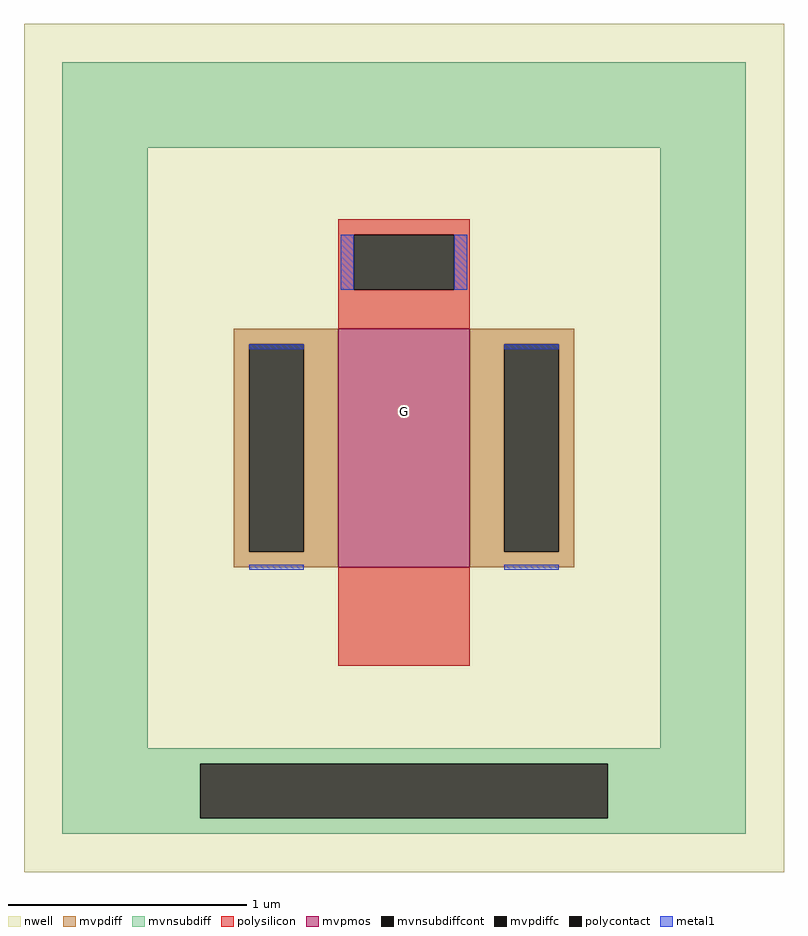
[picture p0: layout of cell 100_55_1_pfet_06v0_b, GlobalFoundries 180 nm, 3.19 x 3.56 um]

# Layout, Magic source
magic
tech gf180mcuD
magscale 1 10
<< nwell >>
rect -319 -356 319 356
<< mvpmos >>
rect -55 -100 55 100
<< mvpdiff >>
rect -143 87 -55 100
rect -143 -87 -130 87
rect -84 -87 -55 87
rect -143 -100 -55 -87
rect 55 87 143 100
rect 55 -87 84 87
rect 130 -87 143 87
rect 55 -100 143 -87
<< mvpdiffc >>
rect -130 -87 -84 87
rect 84 -87 130 87
<< mvnsubdiff >>
rect -287 252 287 324
rect -287 -252 -215 252
rect 215 -252 287 252
rect -287 -265 287 -252
rect -287 -311 -171 -265
rect 171 -311 287 -265
rect -287 -324 287 -311
<< mvnsubdiffcont >>
rect -171 -311 171 -265
<< polysilicon >>
rect -55 179 55 192
rect -55 133 -42 179
rect 42 133 55 179
rect -55 100 55 133
rect -55 -183 55 -100
<< polycontact >>
rect -42 133 42 179
<< metal1 >>
rect -53 133 -42 179
rect 42 133 53 179
rect -130 87 -84 83
rect -130 -98 -84 -102
rect 84 87 130 83
rect 84 -98 130 -102
<< labels >>
flabel metal1 0 31 0 31 0 FreeSans 240 0 0 0 G
<< properties >>
string FIXED_BBOX -251 -288 251 288
<< end >>
